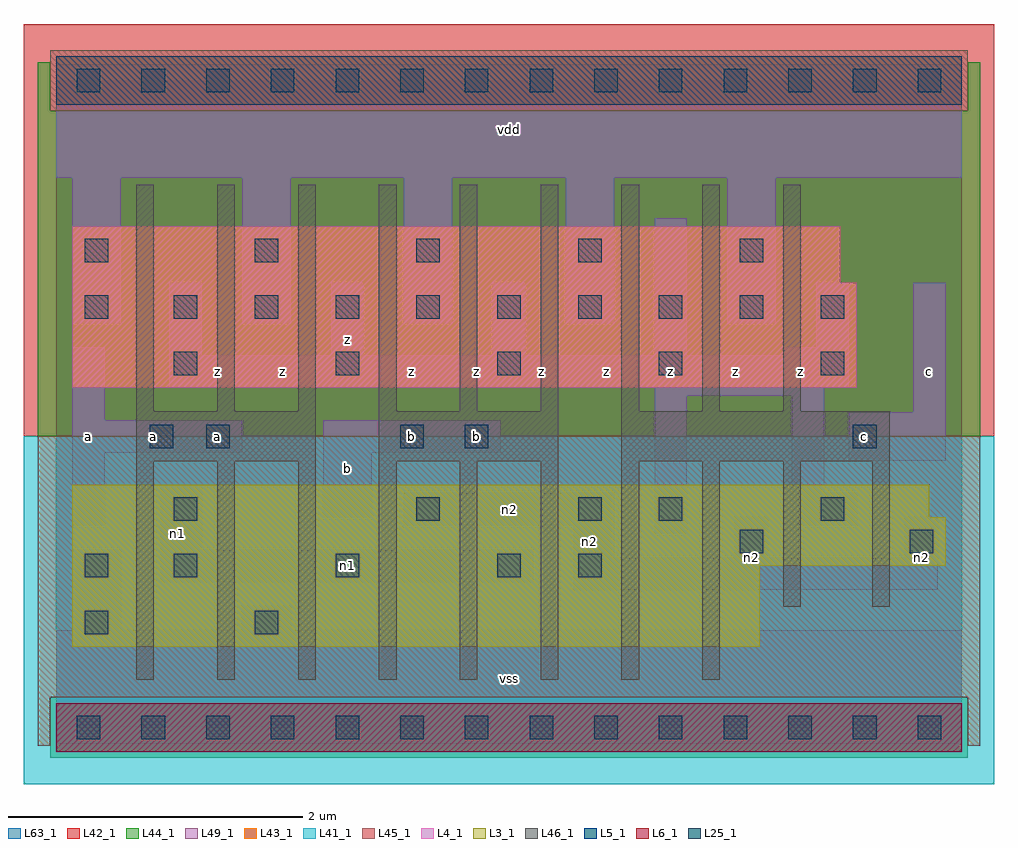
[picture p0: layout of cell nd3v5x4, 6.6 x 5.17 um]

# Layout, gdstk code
import gdstk
lib = gdstk.Library(unit=1e-6, precision=1e-09)
def R(c, l, rs):  # rectangles x0, y0, x1, y1
    for r in rs: c.add(gdstk.rectangle(r[:2], r[2:], *l))
def A(c, l, x, y, w, h, nx, ny, dx, dy):  # array of equal rectangles
    R(c, l, [(x+i*dx, y+j*dy, x+i*dx+w, y+j*dy+h) for i in range(nx) for j in range(ny)])
L3_1 = (3, 1)
L4_1 = (4, 1)
L5_1 = (5, 1)
L6_1 = (6, 1)
L25_1 = (25, 1)
L41_1 = (41, 1)
L42_1 = (42, 1)
L43_1 = (43, 1)
L44_1 = (44, 1)
L45_1 = (45, 1)
L46_1 = (46, 1)
L49_1 = (49, 1)
L63_1 = (63, 1)

nd3v5x4 = lib.new_cell('nd3v5x4')
R(nd3v5x4, L3_1, [(0.11,0.55,4.785,1.1), (0.11,1.1,6.05,1.43), (0.11,1.43,5.94,1.65)])
R(nd3v5x4, L4_1, [(0.11,2.31,5.445,3.025), (0.11,3.025,5.335,3.41)])
R(nd3v5x4, L5_1, [(0,4.235,6.16,4.565)])
R(nd3v5x4, L6_1, [(0,-0.165,6.16,0.165)])
A(nd3v5x4, L25_1, 0.14, -0.08, 0.16, 0.16, 14, 2, 0.44, 4.4)
A(nd3v5x4, L25_1, 0.8, 1.02, 0.16, 0.16, 3, 1, 1.1, 0)
A(nd3v5x4, L25_1, 0.8, 2.395, 0.16, 0.16, 5, 1, 1.1, 0)
A(nd3v5x4, L25_1, 0.8, 2.78, 0.16, 0.16, 9, 1, 0.55, 0)
A(nd3v5x4, L25_1, 1.35, 3.165, 0.16, 0.16, 4, 1, 1.1, 0)
R(nd3v5x4, L25_1, [(0.195,0.635,0.355,0.795), (1.35,0.635,1.51,0.795), (0.195,1.02,0.355,1.18), (3.55,1.02,3.71,1.18), (4.65,1.185,4.81,1.345), (5.805,1.185,5.965,1.345), (0.8,1.405,0.96,1.565), (2.45,1.405,2.61,1.565), (3.55,1.405,3.71,1.565), (4.1,1.405,4.26,1.565), (5.2,1.405,5.36,1.565), (0.635,1.9,0.795,2.06), (1.02,1.9,1.18,2.06), (2.34,1.9,2.5,2.06), (2.78,1.9,2.94,2.06), (5.42,1.9,5.58,2.06), (0.195,2.78,0.355,2.94), (0.195,3.165,0.355,3.325)])
R(nd3v5x4, L41_1, [(-0.22,-0.385,6.38,1.98)])
R(nd3v5x4, L42_1, [(-0.22,1.98,6.38,4.785)])
R(nd3v5x4, L43_1, [(0,-0.165,6.16,0.165), (0.11,0.55,4.785,1.1), (0.11,1.1,6.05,1.43), (0.11,1.43,5.94,1.65), (0.11,2.31,5.445,3.025), (0.11,3.025,5.335,3.41), (0,4.235,6.16,4.565)])
R(nd3v5x4, L44_1, [(-0.04,-0.205,6.2,0.205), (-0.125,1.98,6.285,4.195), (-0.125,4.195,-0.04,4.525), (6.2,4.195,6.285,4.525)])
R(nd3v5x4, L45_1, [(-0.125,-0.125,-0.04,0.205), (6.2,-0.125,6.285,0.205), (-0.125,0.205,6.285,1.98), (-0.04,4.195,6.2,4.605)])
A(nd3v5x4, L46_1, 0.545, 0.325, 0.12, 1.485, 8, 1, 0.55, 0)
A(nd3v5x4, L46_1, 0.545, 2.15, 0.12, 1.54, 9, 1, 0.55, 0)
R(nd3v5x4, L46_1, [(4.945,0.82,5.065,1.81), (5.55,0.82,5.67,1.81), (0.545,1.81,1.765,2.15), (2.195,1.81,3.415,2.15), (3.845,1.81,5.67,2.15)])
A(nd3v5x4, L49_1, 0.77, 2.53, 0.22, 0.495, 3, 1, 1.1, 0)
A(nd3v5x4, L49_1, 1.265, 2.75, 0.33, 0.99, 4, 1, 1.1, 0)
R(nd3v5x4, L49_1, [(0,-0.11,6.16,0.66), (0.11,0.66,0.44,1.21), (1.265,0.66,1.595,0.825), (3.52,0.935,5.995,1.155), (0.715,0.99,3.245,1.21), (3.52,1.155,3.795,1.375), (4.62,1.155,4.84,1.43), (5.775,1.155,5.995,1.43), (0.715,1.21,0.99,1.65), (4.07,1.32,4.29,2.255), (0.11,1.375,0.33,1.87), (2.365,1.375,3.795,1.595), (5.005,1.375,5.445,1.595), (1.815,1.43,2.145,1.87), (5.005,1.595,5.225,2.255), (5.39,1.815,6.05,2.145), (0.11,1.87,1.265,2.09), (1.815,1.87,3.025,2.09), (0.11,2.09,0.33,2.585), (5.83,2.145,6.05,3.025), (4.07,2.255,5.225,2.31), (0.77,2.31,5.39,2.53), (4.07,2.53,4.29,3.465), (4.95,2.53,5.39,2.585), (5.17,2.585,5.39,3.025), (0.11,2.75,0.44,3.74), (0,3.74,6.16,4.51)])
R(nd3v5x4, L63_1, [(0,0,6.16,4.4)])
nd3v5x4.add(gdstk.Label('n1', (0.825,1.32), layer=49, texttype=1))
nd3v5x4.add(gdstk.Label('a', (0.66,1.98), layer=49, texttype=1))
nd3v5x4.add(gdstk.Label('a', (0.22,1.98), layer=49, texttype=1))
nd3v5x4.add(gdstk.Label('b', (1.98,1.76), layer=49, texttype=1))
nd3v5x4.add(gdstk.Label('z', (1.1,2.42), layer=49, texttype=1))
nd3v5x4.add(gdstk.Label('a', (1.1,1.98), layer=49, texttype=1))
nd3v5x4.add(gdstk.Label('z', (1.54,2.42), layer=49, texttype=1))
nd3v5x4.add(gdstk.Label('z', (1.98,2.64), layer=49, texttype=1))
nd3v5x4.add(gdstk.Label('vss', (3.08,0.33), layer=49, texttype=1))
nd3v5x4.add(gdstk.Label('n1', (1.98,1.1), layer=49, texttype=1))
nd3v5x4.add(gdstk.Label('z', (2.42,2.42), layer=49, texttype=1))
nd3v5x4.add(gdstk.Label('b', (2.42,1.98), layer=49, texttype=1))
nd3v5x4.add(gdstk.Label('z', (2.86,2.42), layer=49, texttype=1))
nd3v5x4.add(gdstk.Label('z', (3.3,2.42), layer=49, texttype=1))
nd3v5x4.add(gdstk.Label('b', (2.86,1.98), layer=49, texttype=1))
nd3v5x4.add(gdstk.Label('vdd', (3.08,4.07), layer=49, texttype=1))
nd3v5x4.add(gdstk.Label('n2', (3.63,1.265), layer=49, texttype=1))
nd3v5x4.add(gdstk.Label('n2', (3.08,1.485), layer=49, texttype=1))
nd3v5x4.add(gdstk.Label('n2', (4.73,1.155), layer=49, texttype=1))
nd3v5x4.add(gdstk.Label('z', (3.74,2.42), layer=49, texttype=1))
nd3v5x4.add(gdstk.Label('z', (4.18,2.42), layer=49, texttype=1))
nd3v5x4.add(gdstk.Label('z', (4.62,2.42), layer=49, texttype=1))
nd3v5x4.add(gdstk.Label('n2', (5.885,1.155), layer=49, texttype=1))
nd3v5x4.add(gdstk.Label('z', (5.06,2.42), layer=49, texttype=1))
nd3v5x4.add(gdstk.Label('c', (5.94,2.42), layer=49, texttype=1))
nd3v5x4.add(gdstk.Label('c', (5.5,1.98), layer=49, texttype=1))

lib.write_gds('nd3v5x4.gds')
